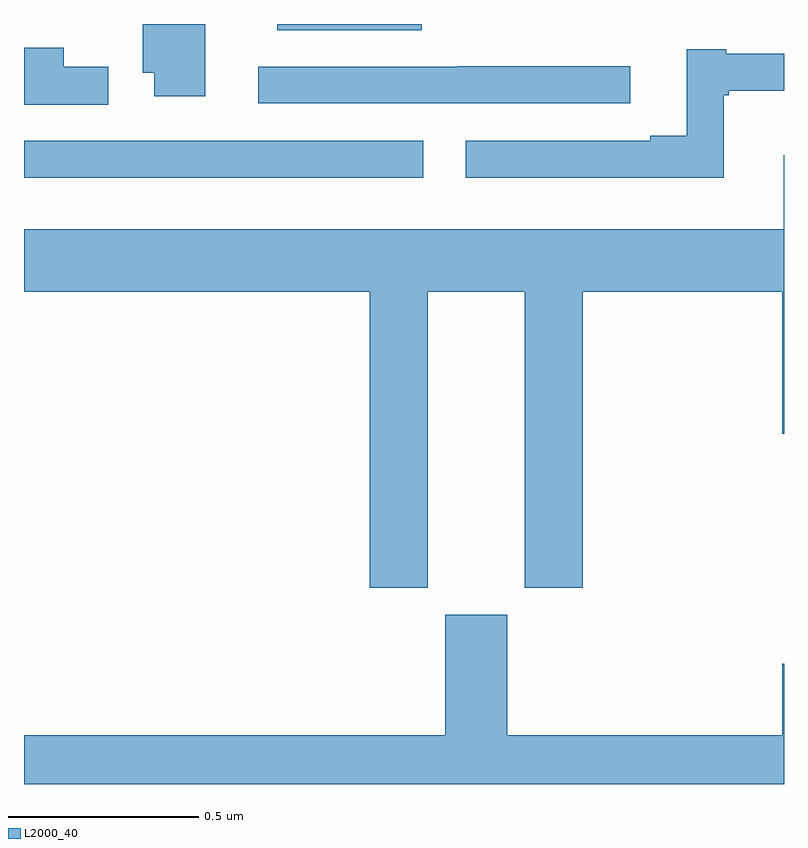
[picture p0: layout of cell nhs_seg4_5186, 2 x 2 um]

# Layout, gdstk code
import gdstk
lib = gdstk.Library(unit=1e-6, precision=1e-09)
def R(c, l, rs):  # rectangles x0, y0, x1, y1
    for r in rs: c.add(gdstk.rectangle(r[:2], r[2:], *l))
def P(c, l, *ps):  # polygons
    for p in ps: c.add(gdstk.Polygon(p, *l))
L2000_40 = (2000, 40)

nhs_seg4_5186 = lib.new_cell('nhs_seg4_5186')
R(nhs_seg4_5186, L2000_40, [(175,754.496,176.05,754.593), (175.667,754.883,176.047,754.9)])
P(nhs_seg4_5186, L2000_40, [(175.477,754.9),(175.313,754.9),(175.313,754.772),(175.343,754.772),(175.343,754.71),(175.477,754.71)],
  [(175.222,754.787),(175.105,754.787),(175.105,754.837),(175,754.837),(175,754.688),(175.222,754.688)],
  [(176.842,754.713),(176.854,754.713),(176.854,754.724),(177,754.724),(177,754.822),(176.848,754.822),(176.848,754.834),(176.744,754.834),(176.744,754.606),(176.648,754.606),(176.648,754.593),(176.163,754.593),(176.163,754.496),(176.842,754.496)],
  [(176.596,754.789),(176.143,754.789),(176.143,754.788),(175.617,754.788),(175.617,754.692),(176.596,754.692)],
  [(176.062,754.196),(176.318,754.196),(176.318,753.417),(176.471,753.417),(176.471,754.196),(176.996,754.196),(176.996,753.822),(177,753.822),(177,754.555),(176.999,754.555),(176.999,754.36),(175,754.36),(175,754.196),(175.91,754.196),(175.91,753.417),(176.062,753.417)],
  [(177,753.217),(176.996,753.217),(176.996,753.028),(176.272,753.028),(176.272,753.345),(176.108,753.345),(176.108,753.028),(175,753.028),(175,752.9),(177,752.9)])

lib.write_gds('nhs_seg4_5186.gds')
